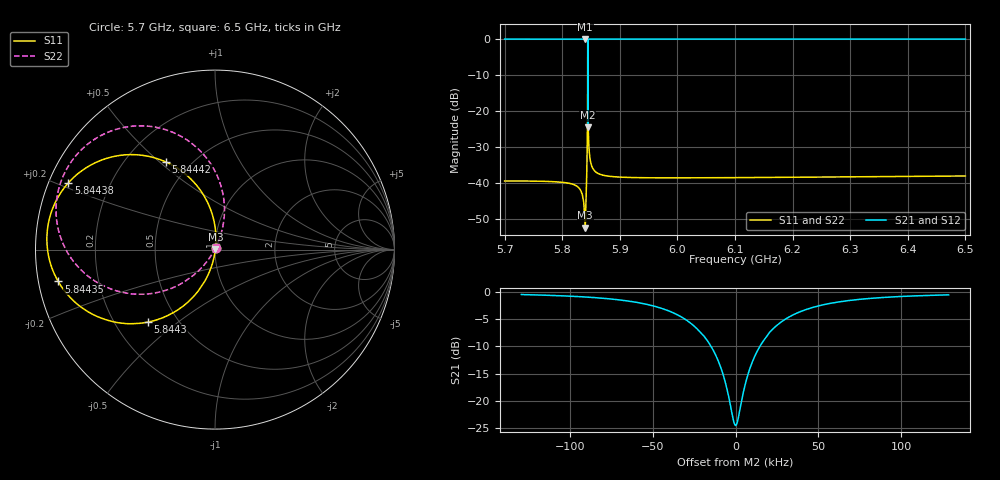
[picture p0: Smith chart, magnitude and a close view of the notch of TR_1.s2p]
! Sonnet Data File
! From: em Version : 14.52
! From Project: TR_1
! Data is De-embedded
! Data File Written: 01/08/2019 23:49:45
!< HDATE 01/08/2019 00:49:42
!< MDATE 01/08/2019 23:19:16
# GHZ S MA R 50.00000
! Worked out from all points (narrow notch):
!   1070 points, 5.7 GHz to 6.5 GHz, reference 50 ohm
!   highest |S21| = 0.00 dB at 5.84 GHz (marker M1); lowest = -24.5 dB at 5.84436 GHz (marker M2)
!   notch at M2: 24.2 dB deep, 21.6 kHz wide at half that depth
!   lowest |S11| = -52.3 dB at 5.84 GHz (marker M3), VSWR 1.00, Z = 50.2 + j0.134 ohm
!   |S11| at or under -10 dB: start of sweep to 5.84424 GHz; 5.84449 GHz to end of sweep
!   |S22| runs from -52.2 to -0.5 dB; largest |S21 - S12| = 0
!   S11 on the Smith chart (normalised r, x): 5.7 GHz: 1.01, +0.02; 5.8443 GHz: 0.34, -0.39; 5.84435 GHz: 0.06, -0.10; 5.84438 GHz: 0.06, +0.22; 5.84442 GHz: 0.37, +0.52; 6.5 GHz: 1.01, +0.02
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5.7  0.01081 74.3  0.9999 -16.4  0.9999 -16.4  0.01081 73.0
!< P1 F=5.7 Eeff=(5.67073876 -5.1701e-6) Z0=(51.7225488 2.35781e-5) R=0.01125112 C=0.00226562
!< P2 F=5.7 Eeff=(5.67073876 -5.1701e-6) Z0=(51.7225488 2.35781e-5) R=0.01125112 C=0.00226562
5.835  0.006963 67.8  1 -17.0  1 -17.0  0.006964 78.1
5.84  0.002435 33.2  1 -17.3  1 -17.3  0.002444 112.3
5.8425  0.0115 -88.5  0.9999 -18.1  0.9999 -18.1  0.01151 -128.0
5.8438  0.0635 -99.3  0.9976 -21.1  0.9976 -21.1  0.06352 -123.5
5.8442  0.2416 -111.6  0.9662 -31.4  0.9662 -31.4  0.2417 -133.2
5.8443  0.5503 -132.8  0.8109 -50.8  0.8109 -50.8  0.5504 -153.9
5.844346  0.8911 -168.5  0.323 -78.7  0.323 -78.7  0.8913 170.7
5.844361  0.9403 172.9  0.05956 -16.8  0.05956 -16.8  0.9406 152.1
5.844375  0.8975 155.5  0.3049 44.5  0.3049 44.5  0.8977 134.8
5.844394  0.7586 136.6  0.5939 31.7  0.5939 31.7  0.7588 116.0
5.844422  0.5616 119.4  0.8037 16.7  0.8037 16.7  0.5617 98.9
5.84448  0.3399 103.8  0.9331 2.4  0.9331 2.4  0.3399 83.6
5.8446  0.1836 93.6  0.9811 -6.8  0.9811 -6.8  0.1836 73.9
5.8452  0.06119 84.9  0.998 -13.9  0.998 -13.9  0.0612 67.6
5.84595  0.03767 82.3  0.9992 -15.3  0.9992 -15.3  0.03768 67.2
5.8525  0.0165 77.4  0.9999 -16.5  0.9999 -16.5  0.0165 69.6
5.9675  0.01194 74.1  0.9999 -17.1  0.9999 -17.1  0.01194 71.7
6.1  0.01202 73.6  0.9999 -17.5  0.9999 -17.5  0.01202 71.4
6.235  0.01222 73.2  0.9999 -17.9  0.9999 -17.9  0.01222 71.0
6.3675  0.01244 72.8  0.9999 -18.3  0.9999 -18.3  0.01244 70.6
6.5  0.01267 72.4  0.9999 -18.7  0.9999 -18.7  0.01267 70.3
